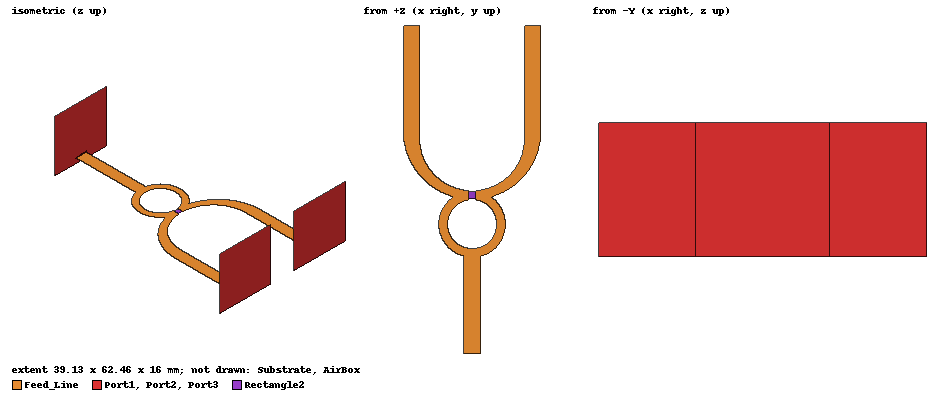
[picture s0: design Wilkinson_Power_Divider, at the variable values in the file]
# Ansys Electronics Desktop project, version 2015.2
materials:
  vacuum: permittivity=1
  FR4_epoxy_4.1: permittivity=4.1 dielectric_loss_tangent=0.01

design Wilkinson_Power_Divider (HFSS, DrivenModal, model units mm)
options: Calculate_Lossy_Dielectrics
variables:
  subx = 40mm
  suby = feed_line_length+2*QW_radius+output_spacing/2+feed_line_width-QW_line_width+output_line_length
  subh = 62mil
  feed_line_width = 3.1298828mm
  feed_line_length = 20mm
  QW_line_width = 1.6767578mm
  QW_radius = QW_line_length/pi
  QW_line_length = 17.29558mm
  output_spacing = 20mm
  output_line_length = 20mm
  resistor_length = 1.2mm
  resistor_width = 1.2mm
  portx = 16mm
  portz = 16mm
  Resistor = 100ohm
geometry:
  Substrate [FR4_epoxy_4.1] = box(corner=(-subx/2, 0mm, 0mm), size=(subx, suby, -subh))
  Feed_Line = rectangle(corner=(-feed_line_width/2, 0mm, 0mm), x_size=feed_line_width, y_size=feed_line_length)
  Quarter_Wave_Section = polyline(z=0mm, xy: (0mm, feed_line_length-QW_line_width/2) (-5.5053542mm, 24.666975mm) (2.1111704e-16mm, 30.17233mm), AngularArc from point 0 over 3 centre=(0mm, feed_line_length+QW_radius-QW_line_width/2, 0mm) angle=-180deg plane=XY, section line width=QW_line_width)
  Output_Transition = polyline(z=0mm, xy: (0mm, feed_line_length+2*QW_radius) (-7.0710678mm, 33.939641mm) (-10mm, 41.010708mm), AngularArc from point 0 over 3 centre=(0mm, feed_line_length+2*QW_radius+output_spacing/2, 0mm) angle=-90deg plane=XY)
  Polyline2 = polyline(z=0mm, xy: (0mm, feed_line_length+2*QW_radius-QW_line_width) (-9.2842292mm, 33.179604mm) (-13.129883mm, 42.463833mm), AngularArc from point 0 over 3 centre=(0mm, feed_line_length+2*QW_radius+output_spacing/2+feed_line_width-QW_line_width, 0mm) angle=-90deg plane=XY)
  Polyline3 = polyline(z=0mm, xy: (-output_spacing/2, feed_line_length+2*QW_radius+output_spacing/2) (-output_spacing/2, feed_line_length+2*QW_radius+output_spacing/2+feed_line_width-QW_line_width) (-output_spacing/2-feed_line_width, feed_line_length+2*QW_radius+output_spacing/2+feed_line_width-QW_line_width))
  Polyline4 = polyline((0mm, feed_line_length+2*QW_radius-QW_line_width, 0mm) (0mm, feed_line_length+2*QW_radius, 0mm))
  Output_Transition.unite(Polyline3, Polyline2, Polyline4)
  Output_Transition.cover_lines()
  Output1 = rectangle(corner=(-output_spacing/2-feed_line_width, feed_line_length+2*QW_radius+output_spacing/2+feed_line_width-QW_line_width, 0mm), x_size=feed_line_width, y_size=output_line_length)
  Quarter_Wave_Section_1 = Quarter_Wave_Section.duplicate_mirror(point=(0mm, 0mm, 0mm), normal=(1mm, 0mm, 0mm))
  Output1_1 = Output1.duplicate_mirror(point=(0mm, 0mm, 0mm), normal=(1mm, 0mm, 0mm))
  Output_Transition_1 = Output_Transition.duplicate_mirror(point=(0mm, 0mm, 0mm), normal=(1mm, 0mm, 0mm))
  Rectangle1 = rectangle(corner=(-resistor_length/2, feed_line_length+2*QW_radius-QW_line_width/2-QW_line_width, 0mm), x_size=resistor_length, y_size=2*QW_line_width)
  Feed_Line.unite(Output_Transition, Output_Transition_1, Output1, Output1_1, Quarter_Wave_Section, Quarter_Wave_Section_1)
  Rectangle2 = rectangle(corner=(-resistor_length/2, feed_line_length+2*QW_radius-QW_line_width/2-resistor_width/2, 0mm), x_size=resistor_length, y_size=resistor_width)
  Feed_Line.subtract(Rectangle1)
  AirBox [vacuum] = box(corner=(-subx/2, 0mm, 0mm), size=(subx, suby, 20mm))
  Port1 = rectangle(corner=(-portx/2, 0mm, -subh), z_size=portz, x_size=portx)
  Port2 = rectangle(corner=(-portx/2-output_spacing/2-feed_line_width/2, suby, -subh), z_size=portz, x_size=portx)
  Port3 = rectangle(corner=(-portx/2+output_spacing/2+feed_line_width/2, suby, -subh), z_size=portz, x_size=portx)
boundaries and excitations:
  PerfE1: Perfect E Objects=Feed_Line
  Resistor: Lumped RLC Objects=Rectangle2 CurrentLine{middle of Rectangle2.edge(x at corner) -> middle of Rectangle2.edge(x opposite corner)} Resistance=Resistor
  Rad1: Radiation Faces=Substrate.face(-y, -x, +y, +x) AirBox.face(+z, -y, -x, +y, +x)
  1: Wave Port Faces=Port1.face NumModes=1 DeembedDist=15mm Modes{Mode1{IntLine{middle of Port1.edge(z at corner) -> middle of Port1.edge(z opposite corner)} CharImp=Zpi}}
  2: Wave Port Objects=Port2 NumModes=1 DeembedDist=15mm Modes{Mode1{IntLine{middle of Port2.edge(z at corner) -> middle of Port2.edge(z opposite corner)} CharImp=Zpi}}
  3: Wave Port Objects=Port3 NumModes=1 DeembedDist=15mm Modes{Mode1{IntLine{middle of Port3.edge(z at corner) -> middle of Port3.edge(z opposite corner)} CharImp=Zpi}}
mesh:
  initial mesh: GlobalSurfApproximation{SurfDevChoice=0 NormalDevChoice=1 AspectRatioChoice=1 SetFacePreservationLevel=0}
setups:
  Setup1: HfssDriven Frequency=2.5GHz MaxDeltaS=0.01 MaximumPasses=20 MinimumPasses=1 MinimumConvergedPasses=2 PercentRefinement=30 BasisOrder=1 PortAccuracy=2
    sweep Sweep: 1GHz to 5GHz step 0.001GHz; Type=Interpolating InterpTolerance=0.5 InterpMaxSolns=250 InterpUsePortImped=false
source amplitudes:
  1:1: 1W 0deg
  2:1, 3:1: 0W 0deg
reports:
  S_Parameters_dB: dB(S(1,1)), dB(S(2,1)), dB(S(2,2)), dB(S(3,1)), dB(S(3,2)), dB(S(3,3)) vs Freq on Setup1 : Sweep; markers S11 at 2.5GHz, S22 at 2.5GHz, S33 at 2.5GHz, S21 at 2.5GHz, S31 at 2.5GHz, S32 at 2.5GHz
  S_Parameters_phase: arg(S(1,1)), arg(S(2,1)), arg(S(2,2)), arg(S(3,1)), arg(S(3,2)), arg(S(3,3)) vs Freq on Setup1 : Sweep
